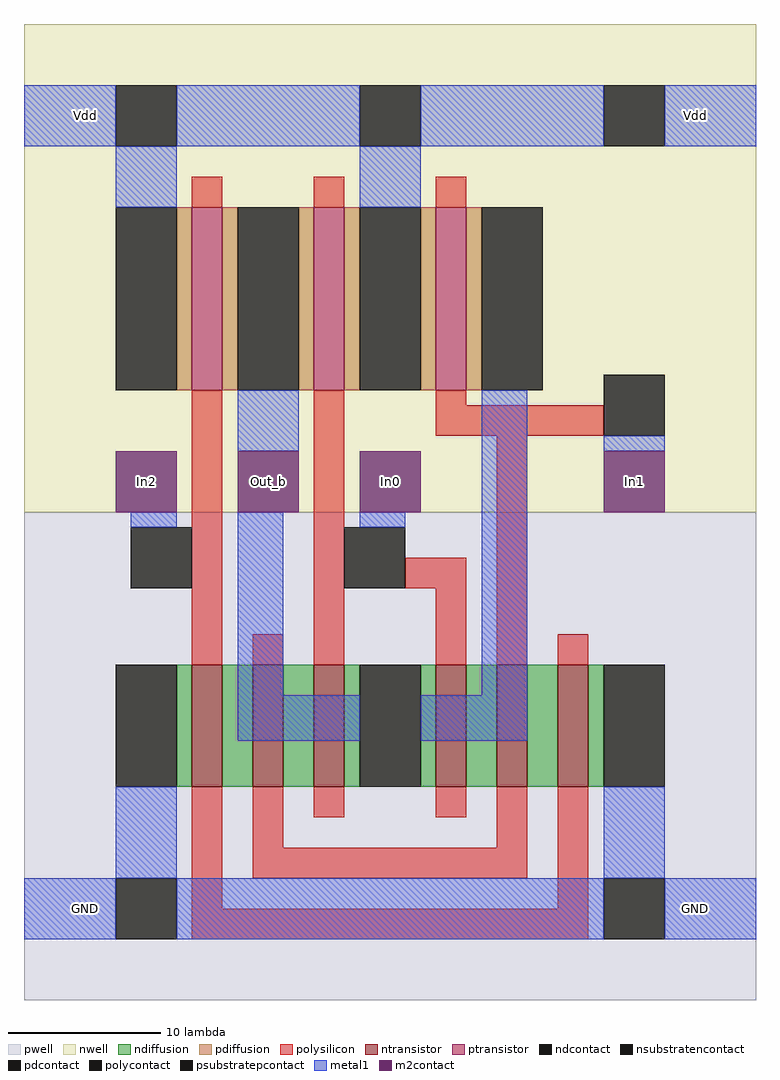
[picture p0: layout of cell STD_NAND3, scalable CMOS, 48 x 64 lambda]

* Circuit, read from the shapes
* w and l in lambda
.subckt STD_NAND3 GND In0 In1 In2 Out_b Vdd
M1 n1 In2 GND GND nfet w=8 l=2
M2 n2 In1 n1 GND nfet w=8 l=2
M3 Out_b In0 n2 GND nfet w=8 l=2
M4 n3 In0 Out_b GND nfet w=8 l=2
M5 n4 In1 n3 GND nfet w=8 l=2
M6 GND In2 n4 GND nfet w=8 l=2
M7 Out_b In2 Vdd Vdd pfet w=12 l=2
M8 Vdd In0 Out_b Vdd pfet w=12 l=2
M9 Out_b In1 Vdd Vdd pfet w=12 l=2
.ends

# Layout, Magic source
magic
tech scmos
<< pwell >>
rect 0 0 48 32
<< nwell >>
rect 0 32 48 64
<< polysilicon >>
rect 11 52 13 54
rect 19 52 21 54
rect 27 52 29 54
rect 11 22 13 40
rect 15 22 17 24
rect 19 22 21 40
rect 27 39 29 40
rect 27 37 38 39
rect 25 27 29 29
rect 27 22 29 27
rect 31 22 33 37
rect 35 22 37 24
rect 11 6 13 14
rect 15 10 17 14
rect 19 12 21 14
rect 27 12 29 14
rect 31 10 33 14
rect 15 8 33 10
rect 35 6 37 14
rect 11 4 37 6
<< ndiffusion >>
rect 10 14 11 22
rect 13 14 15 22
rect 17 14 19 22
rect 21 14 22 22
rect 26 14 27 22
rect 29 14 31 22
rect 33 14 35 22
rect 37 14 38 22
<< pdiffusion >>
rect 10 40 11 52
rect 13 40 14 52
rect 18 40 19 52
rect 21 40 22 52
rect 26 40 27 52
rect 29 40 30 52
<< metal1 >>
rect 0 56 6 60
rect 10 56 22 60
rect 26 56 38 60
rect 42 56 48 60
rect 6 52 10 56
rect 22 52 26 56
rect 14 36 18 40
rect 7 31 10 32
rect 14 20 17 32
rect 22 31 25 32
rect 14 17 22 20
rect 30 20 33 40
rect 38 36 42 37
rect 26 17 33 20
rect 6 8 10 14
rect 38 8 42 14
rect 0 4 6 8
rect 10 4 38 8
rect 42 4 48 8
<< ntransistor >>
rect 11 14 13 22
rect 15 14 17 22
rect 19 14 21 22
rect 27 14 29 22
rect 31 14 33 22
rect 35 14 37 22
<< ptransistor >>
rect 11 40 13 52
rect 19 40 21 52
rect 27 40 29 52
<< polycontact >>
rect 7 27 11 31
rect 38 37 42 41
rect 21 27 25 31
<< ndcontact >>
rect 6 14 10 22
rect 22 14 26 22
rect 38 14 42 22
<< pdcontact >>
rect 6 40 10 52
rect 14 40 18 52
rect 22 40 26 52
rect 30 40 34 52
<< m2contact >>
rect 6 32 10 36
rect 14 32 18 36
rect 22 32 26 36
rect 38 32 42 36
<< psubstratepcontact >>
rect 6 4 10 8
rect 38 4 42 8
<< nsubstratencontact >>
rect 6 56 10 60
rect 22 56 26 60
rect 38 56 42 60
<< labels >>
rlabel m2contact 8 34 8 34 6 In2
rlabel m2contact 16 34 16 34 6 Out_b
rlabel m2contact 24 34 24 34 6 In0
rlabel metal1 4 6 4 6 6 GND
rlabel metal1 44 58 44 58 6 Vdd
rlabel metal1 4 58 4 58 6 Vdd
rlabel metal1 44 6 44 6 6 GND
rlabel m2contact 40 34 40 34 6 In1
<< end >>
